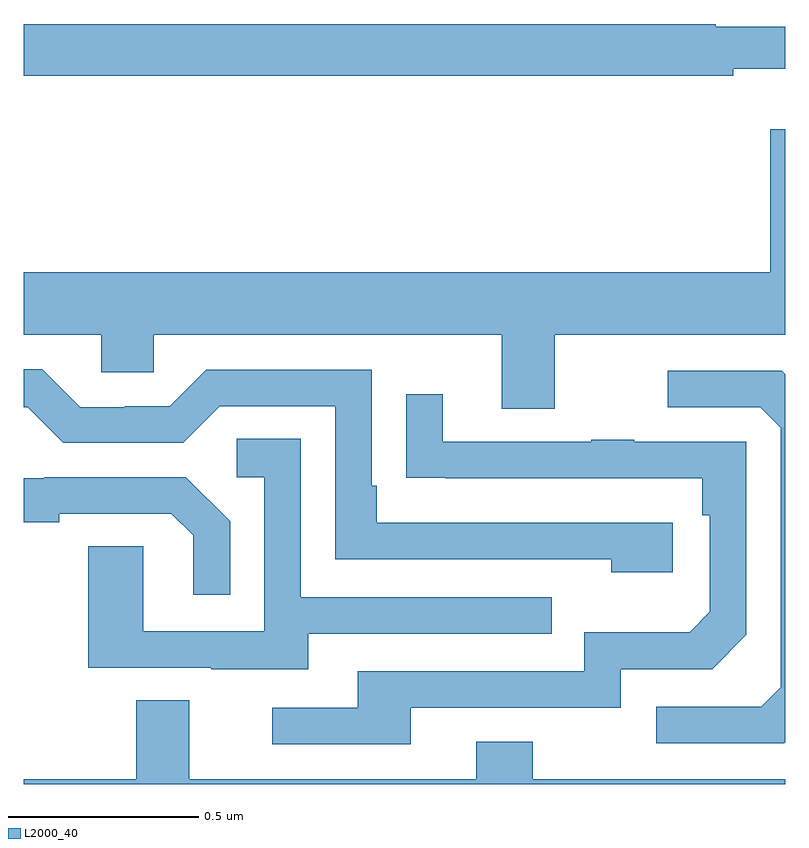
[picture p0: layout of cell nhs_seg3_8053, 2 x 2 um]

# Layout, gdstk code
import gdstk
lib = gdstk.Library(unit=1e-6, precision=1e-09)
def P(c, l, *ps):  # polygons
    for p in ps: c.add(gdstk.Polygon(p, *l))
L2000_40 = (2000, 40)

nhs_seg3_8053 = lib.new_cell('nhs_seg3_8053')
P(nhs_seg3_8053, L2000_40, [(212.864,704.279),(213,704.279),(213,704.389),(212.818,704.389),(212.818,704.396),(211,704.396),(211,704.26),(212.864,704.26)],
  [(211,703.58),(211.203,703.58),(211.203,703.482),(211.341,703.482),(211.341,703.58),(212.255,703.58),(212.255,703.386),(212.395,703.386),(212.395,703.58),(213,703.58),(213,704.119),(212.96,704.119),(212.96,703.744),(211,703.744)],
  [(212.704,703.086),(211.927,703.086),(211.927,703.183),(211.914,703.183),(211.914,703.488),(211.479,703.488),(211.383,703.392),(211.265,703.392),(211.265,703.389),(211.149,703.389),(211.049,703.489),(211,703.489),(211,703.389),(211.011,703.389),(211.104,703.296),(211.419,703.296),(211.515,703.392),(211.818,703.392),(211.818,702.99),(212.543,702.99),(212.543,702.956),(212.704,702.956)],
  [(213,702.51),(213,703.476),(212.991,703.485),(212.691,703.485),(212.691,703.389),(212.934,703.389),(212.988,703.335),(212.988,702.654),(212.937,702.603),(212.661,702.603),(212.661,702.507),(212.997,702.507)],
  [(212.017,702.6),(212.568,702.6),(212.568,702.702),(212.808,702.702),(212.898,702.792),(212.898,703.299),(212.603,703.299),(212.603,703.304),(212.491,703.304),(212.491,703.299),(212.101,703.299),(212.101,703.423),(212.005,703.423),(212.005,703.204),(212.107,703.204),(212.107,703.203),(212.782,703.203),(212.782,703.106),(212.802,703.106),(212.802,702.852),(212.749,702.799),(212.472,702.799),(212.472,702.696),(211.877,702.696),(211.877,702.6),(211.653,702.6),(211.653,702.504),(212.017,702.504)],
  [(211.747,702.795),(212.387,702.795),(212.387,702.891),(211.728,702.891),(211.728,703.307),(211.56,703.307),(211.56,703.206),(211.632,703.206),(211.632,702.801),(211.314,702.801),(211.314,703.025),(211.169,703.025),(211.169,702.705),(211.493,702.705),(211.493,702.701),(211.747,702.701)],
  [(211.542,703.09),(211.426,703.206),(211.054,703.206),(211.054,703.203),(211,703.203),(211,703.088),(211.093,703.088),(211.093,703.11),(211.388,703.11),(211.445,703.053),(211.445,702.897),(211.542,702.897)],
  [(213,702.412),(212.337,702.412),(212.337,702.511),(212.189,702.511),(212.189,702.412),(211.435,702.412),(211.435,702.62),(211.295,702.62),(211.295,702.412),(211,702.412),(211,702.4),(213,702.4)])

lib.write_gds('nhs_seg3_8053.gds')
